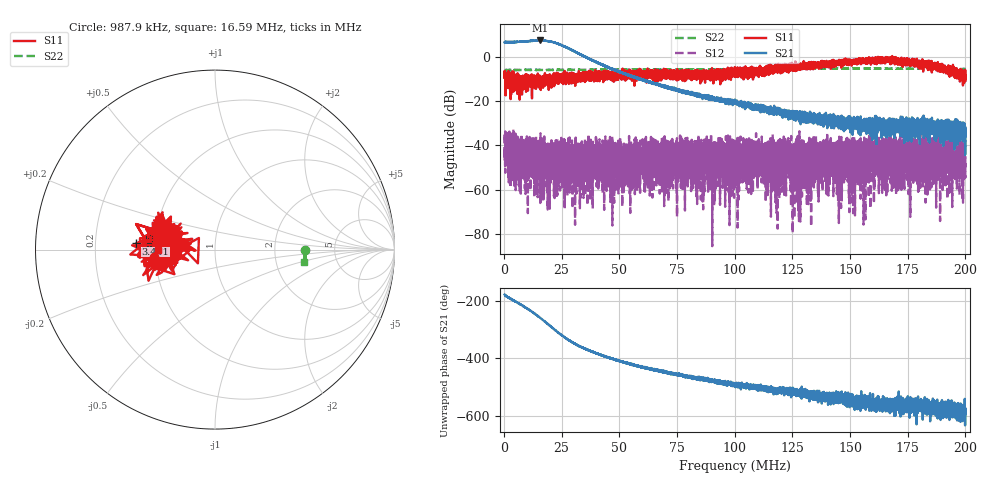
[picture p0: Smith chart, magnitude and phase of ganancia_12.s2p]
# Hz S DB R 50
! CMT, M5065, 19127446, 24.2.4/2
! Date: 10/29/2024 1:08:21 PM
! Data: Format (Calibration Info)
! Freq	S11:dB/Ang(F2)	S21:dB/Ang(F2)	S12:dB/Ang(F2)	S22:dB/Ang(F2)
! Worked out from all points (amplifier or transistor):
!   9000 points, 300 kHz to 200 MHz, reference 50 ohm
!   highest |S21| = 7.3 dB at 15.52 MHz (marker M1)
!   |S21| within 3 dB of that: start of sweep to 26.79 MHz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
!   unconditionally stable (mu >= 1): start of sweep to 168.2 MHz; 168.3 MHz to end of sweep
!   at 33.59 MHz: K = 74.72, MAG = 2.5 dB, |S12| = -47.7 dB
!   at 100.2 MHz: K = 409.11, MAG = -18.4 dB, |S12| = -41.8 dB
!   at 200 MHz: K = 3136.75, MAG = -32.9 dB, |S12| = -44.9 dB
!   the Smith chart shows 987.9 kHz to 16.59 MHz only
!   S11 on the Smith chart (normalised r, x): 987.9 kHz: 0.49, -0.05; 3.451 MHz: 0.39, +0.03; 16.59 MHz: 0.52, +0.00
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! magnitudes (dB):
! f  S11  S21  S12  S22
! 300 kHz  -9.5  6.5  -42.8  -6.0
! 987.9 kHz  -9.4  6.6  -37.4  -6.0
! 3.451 MHz  -7.1  6.6  -36.8  -6.1
! 7.912 MHz  -11.9  6.8  -51.6  -6.0
! 10.06 MHz  -13.8  7.0  -41.4  -6.0
! 15.52 MHz  -10.5  7.3  -45.4  -6.0
! 16.59 MHz  -10.0  7.2  -44.5  -6.0
! 33.59 MHz  -10.6  0.9  -47.7  -6.0
! 66.87 MHz  -8.6  -12.2  -56.7  -5.8
! 100.2 MHz  -8.6  -20.4  -41.8  -5.7
! 133.4 MHz  -3.4  -28.1  -43.8  -5.4
! 151.9 MHz  -1.9  -31.4  -44.7  -5.3
! 153.8 MHz  -1.6  -30.0  -52.4  -5.3
! 166.7 MHz  -1.4  -30.4  -43.0  -5.4
! 169.7 MHz  -1.1  -31.2  -39.2  -5.4
! 177.8 MHz  -3.3  -32.0  -45.7  -5.4
! 180.2 MHz  -2.2  -31.8  -42.6  -5.5
! 184.8 MHz  -5.0  -34.4  -47.1  -5.5
! 193.4 MHz  -6.6  -34.1  -39.3  -5.5
! 195.5 MHz  -6.0  -31.4  -43.0  -5.5
! 198 MHz  -8.6  -31.3  -50.1  -5.5
! 200 MHz  -10.9  -34.6  -44.9  -5.5
